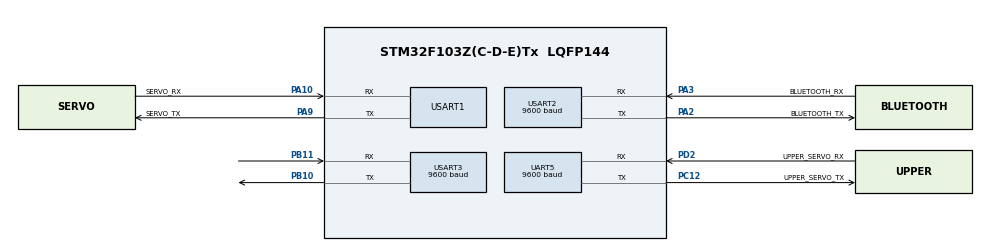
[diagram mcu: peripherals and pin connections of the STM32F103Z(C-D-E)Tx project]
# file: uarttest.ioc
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Mcu.Family=STM32F1
Mcu.Name=STM32F103Z(C-D-E)Tx
Mcu.Package=LQFP144
NVIC.PriorityGroup=NVIC_PRIORITYGROUP_4
NVIC.UART5_IRQn=true\:0\:0\:false\:false\:true\:true\:true\:true
NVIC.USART1_IRQn=true\:0\:0\:false\:false\:true\:true\:true\:true
NVIC.USART2_IRQn=true\:0\:0\:false\:false\:true\:true\:true\:true
NVIC.USART3_IRQn=true\:0\:0\:false\:false\:true\:true\:true\:true
OSC_IN.Mode=HSE-External-Oscillator
OSC_IN.Signal=RCC_OSC_IN
OSC_OUT.Mode=HSE-External-Oscillator
OSC_OUT.Signal=RCC_OSC_OUT
PA10.GPIO_Label=SERVO_RX
PA10.Mode=Asynchronous
PA10.Signal=USART1_RX
PA13.Mode=Serial_Wire
PA13.Signal=SYS_JTMS-SWDIO
PA14.Mode=Serial_Wire
PA14.Signal=SYS_JTCK-SWCLK
PA2.GPIO_Label=BLUETOOTH_TX
PA2.Mode=Asynchronous
PA2.Signal=USART2_TX
PA3.GPIO_Label=BLUETOOTH_RX
PA3.Mode=Asynchronous
PA3.Signal=USART2_RX
PA9.GPIO_Label=SERVO_TX
PA9.Mode=Asynchronous
PA9.Signal=USART1_TX
PB10.Mode=Asynchronous
PB10.Signal=USART3_TX
PB11.Mode=Asynchronous
PB11.Signal=USART3_RX
PC12.GPIO_Label=UPPER_SERVO_TX
PC12.Mode=Asynchronous
PC12.Signal=UART5_TX
PD2.GPIO_Label=UPPER_SERVO_RX
PD2.Mode=Asynchronous
PD2.Signal=UART5_RX
ProjectManager.HeapSize=0x200
ProjectManager.StackSize=0x400
ProjectManager.TargetToolchain=STM32CubeIDE
RCC.APB1Freq_Value=8000000
RCC.APB2Freq_Value=8000000
UART5.BaudRate=9600
UART5.VirtualMode=Asynchronous
USART1.VirtualMode=VM_ASYNC
USART2.BaudRate=9600
USART2.VirtualMode=VM_ASYNC
USART3.BaudRate=9600
USART3.VirtualMode=VM_ASYNC
board=custom

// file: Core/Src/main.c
/* USER CODE BEGIN Header */
/**
  ******************************************************************************
  * @file           : main.c
  * @brief          : Main program body
  ******************************************************************************
  * @attention
  *
  * Copyright (c) 2022 STMicroelectronics.
  * All rights reserved.
  *
  * This software is licensed under terms that can be found in the LICENSE file
  * in the root directory of this software component.
  * If no LICENSE file comes with this software, it is provided AS-IS.
  *
  ******************************************************************************
  */
//

/* USER CODE END Header */
#include "main.h"
#include "Servo.h"
#include <stdio.h>
#include <stdarg.h>
#include "movementTable.h"

UART_HandleTypeDef UPPER_SERVO_UART;
UART_HandleTypeDef SERVO_UART;
UART_HandleTypeDef BLUETOOTH_UART;
UART_HandleTypeDef huart3;

/* USER CODE BEGIN PV */
extern char BLUETOOTH_RX_BUF[400];
extern char SERVO_RX_BUF[400];
extern char CMD_ARG_BUF[100];
extern char UPPER_SERVO_RX_BUF[400];
extern uint16_t CMD_FLAG;
extern uint16_t ANGLE[30];
extern int mutex_lock;
extern int mutex_lock_upper;
/* USER CODE END PV */

void SystemClock_Config(void);
static void MX_GPIO_Init(void);
static void MX_USART1_UART_Init(void);
static void MX_USART2_UART_Init(void);
static void MX_USART3_UART_Init(void);
static void MX_UART5_Init(void);

int main(void)
{

  /* MCU Configuration--------------------------------------------------------*/

  /* Reset of all peripherals, Initializes the Flash interface and the Systick. */
  HAL_Init();

  /* Configure the system clock */
  SystemClock_Config();

  /* Initialize all configured peripherals */
  MX_GPIO_Init();
  MX_USART1_UART_Init();
  MX_USART2_UART_Init();
  MX_USART3_UART_Init();
  MX_UART5_Init();
  /* USER CODE BEGIN 2 */
    char * initInfo = "Stm init......\n\0";
    HAL_UART_Transmit(&BLUETOOTH_UART,initInfo,16,HAL_MAX_DELAY);
    __HAL_UART_CLEAR_IDLEFLAG(&SERVO_UART);
    __HAL_UART_ENABLE_IT(&SERVO_UART, UART_IT_IDLE | UART_IT_RXNE);
    HAL_UART_Receive_IT(&SERVO_UART, (uint8_t *)SERVO_RX_BUF, 100);
    __HAL_UART_CLEAR_IDLEFLAG(&BLUETOOTH_UART);
    __HAL_UART_ENABLE_IT(&BLUETOOTH_UART, UART_IT_IDLE | UART_IT_RXNE);
    HAL_UART_Receive_IT(&BLUETOOTH_UART, (uint8_t *)BLUETOOTH_RX_BUF, 100);
    __HAL_UART_CLEAR_IDLEFLAG(&UPPER_SERVO_UART);
    __HAL_UART_ENABLE_IT(&UPPER_SERVO_UART, UART_IT_IDLE | UART_IT_RXNE);
    HAL_UART_Receive_IT(&UPPER_SERVO_UART, (uint8_t *)UPPER_SERVO_RX_BUF, 100);

    Uart_Init(&SERVO_UART, &UPPER_SERVO_UART);
    CMD_FLAG = '0';
  /* USER CODE END 2 */
  /* Infinite loop */
  /* USER CODE BEGIN WHILE */
    /* Infinite loop */
        while (1){
            switch (CMD_FLAG) {
                case 1:
                    movement_normal_forward();
                    break;
                case 2:
                    movement_normal_backward();
                    break;
                case 3:
                    movement_turn_left();
                    break;
                case 4:
                    movement_turn_right();
                    break;
                case 5:
                    movement_rotate_right();
                    break;
                case 6:
                    movement_rotate_left();
                    break;
                case 7:
                    movement_highlifting_backward();
                    break;
                case 8:
                    movement_highlifting_forward();
                    break;
                case 9:
                    movement_default_pos();
                    break;
                case 10:
                    unloadServos(3,0,1,2,3);//LF
                    CMD_FLAG = 0;
                    break;
                case 11:
                    unloadServos(3,0,4,5,6);//LM
                    CMD_FLAG = 0;
                    break;
                case 12:
                    unloadServos(3,0,10,11,12);//LH
                    CMD_FLAG = 0;
                    break;
                case 13:
                    unloadServos(3,0,16,17,18);//RF
                    CMD_FLAG = 0;
                    break;
                case 14:
                    unloadServos(3,0,7,8,9);//RM
                    CMD_FLAG = 0;
                    break;
                case 15:
                    unloadServos(3,0,13,14,15);//RH
                    CMD_FLAG = 0;
                    break;
                case 16:
                    unloadServos(2,19,20);//LF
                    CMD_FLAG = 0;
                    break;
                case 17:
                    unloadServos(2,29,30);//LM
                    CMD_FLAG = 0;
                    break;
                case 18:
                    unloadServos(2, 27,28);//LH
                    CMD_FLAG = 0;
                    break;
                case 19://RF
                    unloadServos(2,21,22);
                    CMD_FLAG = 0;
                    break;
                case 20://RM
                    unloadServos(2,23,24);
                    CMD_FLAG = 0;
                    break;
                case 21://RH
                    unloadServos(2,25,26);
                    CMD_FLAG = 0;
                    break;
                case 22:
                    movement_twist_rotate_right();break;
                case 23:
                    movement_tetrapod_forward();break;
                case 24:
                    movement_wave_forward();
                    break;
                case lay_down:
                    movement_convert();
                    moveServos(9, 1000
                            ,1 ,488
                            ,2 ,545
                            ,3 ,830
                            ,7 ,494
                            ,8 ,575
                            ,9 ,0
                            ,10 ,500
                            ,11 ,497
                            ,12 ,835
                    );
                    HAL_Delay(1000);
                    moveServos(9, 1000
                            ,1 ,488
                            ,2 ,170
                            ,3 ,330
                            ,7 ,494
                            ,8 ,950
                            ,9 ,490
                            ,10 ,500
                            ,11 ,122
                            ,12 ,335
                    );
                    HAL_Delay(1000);
                    moveServos(9, 400
                            ,4 ,488
                            ,5 ,517
                            ,6 ,755
                            ,13 ,436
                            ,14 ,540
                            ,15 ,825
                            ,16 ,496
                            ,17 ,570
                            ,18 ,760
                    );
                    HAL_Delay(400);
                    //
                    unloadServos(18,0,1,2,3,4,5,6,7,8,9,10,11,12,13,14,15,16,17,18);
                    break;
                case 26:
                    movement_lift_up();
                    break;
                case 27:
                    movement_lowdown();
                    break;
                case flower_convert:
                    moveServos(12, 500
                            ,7 ,791
                            ,10 ,797
                            ,1 ,778
                            ,4 ,785
                            ,13 ,733
                            ,16 ,793
                            ,21 ,886
                            ,22 ,844
                            ,23 ,13
                            ,24 ,315
                            ,25 ,966
                            ,26 ,804
                    );
                    HAL_Delay(500);
                    moveServos(6,500,
                               19 ,984
                            ,20 ,809
                            ,27 ,1014
                            ,28 ,704
                            ,29 ,1049
                            ,30 ,544);
                    HAL_Delay(500);
                    break;
                case 29:
                    movement_normal_rightward();
                    break;
                case 30:
                    movement_normal_leftward();
                    break;
                case stand_up:
                    movement_stand_up();
                    movement_default_pos();
                    break;
                case flower_open:
                    unloadServos(6,0,3,6,9,12,15,18);
                    moveServos(24, 1000,7 ,494,8 ,554,10 ,500,11 ,517,1 ,488,2 ,565,4 ,488,5 ,537,13 ,436,14 ,560,16 ,496,17 ,590,19 ,880,20 ,809,27 ,910,28 ,704,29 ,945,30 ,544,21 ,795,22 ,844,23 ,105,24 ,315,25 ,875,26 ,804);
                    HAL_Delay(1000);
                    unloadServos(18,0,1,2,3,4,5,6,7,8,9,10,11,12,13,14,15,16,17,18);
                    break;
                case 34:
                    unloadServos(18,0,1,2,3,4,5,6,7,8,9,10,11,12,13,14,15,16,17,18);
                    moveServos(12, 500,19 ,505,20 ,809,27 ,535,28 ,704,29 ,570,30 ,544,21 ,420,22 ,844,23 ,480,24 ,315,25 ,500,26 ,804);
                    HAL_Delay(500);
                    moveServos(6, 1000,9 ,219,12 ,605,3 ,600,6 ,525,15 ,595,18 ,530);
                    HAL_Delay(1000);
                    unloadServos(18,0,1,2,3,4,5,6,7,8,9,10,11,12,13,14,15,16,17,18);
                    break;
                case up_flower_open://STAGE1
                    movement_up_half_open();
                    break;
                case up_flower_hold://STAGE2
                    movement_up_hold();
                    break;
                case up_crawl_hold://STAGE3
                    movement_up_crawl_hold();
                    //rolling_down();
                    break;
                case asyn_rolling://STAGE4
                    movement_asyn_rolling();
                    //up_down_down();
                    break;
                case 39://��ϥ
                    movement_leg_hold_up();
                    break;
                case 40://������1
                    convert_on_and_on();
                    break;
                case 41://������2
                    rolling_down();
                    break;
                case 42://������3
                    up_down_down();
                    break;
                case 43:
                    //
                    // movement_twist_rotate_right();
                case 110:
                    unloadServos(30,0,1,2,3,4,5,6,7,8,9,10,11,12,13,14,15,16,17,18,19,20,21,22,23,24,25,26,27,28,29,30);
                    CMD_FLAG = 0;
                    break;
                case 111:
                    mutex_lock = 1;
                    mutex_lock_upper = 1;
                    getServoAngle(30,0,1,2,3,4,5,6,7,8,9,10,11,12,13,14,15,16,17,18,19,20,21,22,23,24,25,26,27,28,29,30);
                    while (mutex_lock&&mutex_lock_upper){}
                    double angle[31];
                    convertAngleData(angle, ANGLE);
                    CMD_FLAG = 0;
                    break;
                default:break;
            }
        }

    /* USER CODE END WHILE */

}

void SystemClock_Config(void)
{
  RCC_OscInitTypeDef RCC_OscInitStruct = {0};
  RCC_ClkInitTypeDef RCC_ClkInitStruct = {0};

  /** Initializes the RCC Oscillators according to the specified parameters
  * in the RCC_OscInitTypeDef structure.
  */
  RCC_OscInitStruct.OscillatorType = RCC_OSCILLATORTYPE_HSI;
  RCC_OscInitStruct.HSIState = RCC_HSI_ON;
  RCC_OscInitStruct.HSICalibrationValue = RCC_HSICALIBRATION_DEFAULT;
  RCC_OscInitStruct.PLL.PLLState = RCC_PLL_NONE;
  if (HAL_RCC_OscConfig(&RCC_OscInitStruct) != HAL_OK)
  {
    Error_Handler();
  }

  /** Initializes the CPU, AHB and APB buses clocks
  */
  RCC_ClkInitStruct.ClockType = RCC_CLOCKTYPE_HCLK|RCC_CLOCKTYPE_SYSCLK
                              |RCC_CLOCKTYPE_PCLK1|RCC_CLOCKTYPE_PCLK2;
  RCC_ClkInitStruct.SYSCLKSource = RCC_SYSCLKSOURCE_HSI;
  RCC_ClkInitStruct.AHBCLKDivider = RCC_SYSCLK_DIV1;
  RCC_ClkInitStruct.APB1CLKDivider = RCC_HCLK_DIV1;
  RCC_ClkInitStruct.APB2CLKDivider = RCC_HCLK_DIV1;

  if (HAL_RCC_ClockConfig(&RCC_ClkInitStruct, FLASH_LATENCY_0) != HAL_OK)
  {
    Error_Handler();
  }
}

static void MX_UART5_Init(void)
{

  UPPER_SERVO_UART.Instance = UART5;
  UPPER_SERVO_UART.Init.BaudRate = 9600;
  UPPER_SERVO_UART.Init.WordLength = UART_WORDLENGTH_8B;
  UPPER_SERVO_UART.Init.StopBits = UART_STOPBITS_1;
  UPPER_SERVO_UART.Init.Parity = UART_PARITY_NONE;
  UPPER_SERVO_UART.Init.Mode = UART_MODE_TX_RX;
  UPPER_SERVO_UART.Init.HwFlowCtl = UART_HWCONTROL_NONE;
  UPPER_SERVO_UART.Init.OverSampling = UART_OVERSAMPLING_16;
  if (HAL_UART_Init(&UPPER_SERVO_UART) != HAL_OK)
  {
    Error_Handler();
  }

}

static void MX_USART1_UART_Init(void)
{

  SERVO_UART.Instance = USART1;
  SERVO_UART.Init.BaudRate = 9600;
  SERVO_UART.Init.WordLength = UART_WORDLENGTH_8B;
  SERVO_UART.Init.StopBits = UART_STOPBITS_1;
  SERVO_UART.Init.Parity = UART_PARITY_NONE;
  SERVO_UART.Init.Mode = UART_MODE_TX_RX;
  SERVO_UART.Init.HwFlowCtl = UART_HWCONTROL_NONE;
  SERVO_UART.Init.OverSampling = UART_OVERSAMPLING_16;
  if (HAL_UART_Init(&SERVO_UART) != HAL_OK)
  {
    Error_Handler();
  }

}

static void MX_USART2_UART_Init(void)
{

  BLUETOOTH_UART.Instance = USART2;
  BLUETOOTH_UART.Init.BaudRate = 9600;
  BLUETOOTH_UART.Init.WordLength = UART_WORDLENGTH_8B;
  BLUETOOTH_UART.Init.StopBits = UART_STOPBITS_1;
  BLUETOOTH_UART.Init.Parity = UART_PARITY_NONE;
  BLUETOOTH_UART.Init.Mode = UART_MODE_TX_RX;
  BLUETOOTH_UART.Init.HwFlowCtl = UART_HWCONTROL_NONE;
  BLUETOOTH_UART.Init.OverSampling = UART_OVERSAMPLING_16;
  if (HAL_UART_Init(&BLUETOOTH_UART) != HAL_OK)
  {
    Error_Handler();
  }

}

static void MX_USART3_UART_Init(void)
{

  huart3.Instance = USART3;
  huart3.Init.BaudRate = 9600;
  huart3.Init.WordLength = UART_WORDLENGTH_8B;
  huart3.Init.StopBits = UART_STOPBITS_1;
  huart3.Init.Parity = UART_PARITY_NONE;
  huart3.Init.Mode = UART_MODE_TX_RX;
  huart3.Init.HwFlowCtl = UART_HWCONTROL_NONE;
  huart3.Init.OverSampling = UART_OVERSAMPLING_16;
  if (HAL_UART_Init(&huart3) != HAL_OK)
  {
    Error_Handler();
  }

}

static void MX_GPIO_Init(void)
{

  /* GPIO Ports Clock Enable */
  __HAL_RCC_GPIOA_CLK_ENABLE();
  __HAL_RCC_GPIOB_CLK_ENABLE();
  __HAL_RCC_GPIOC_CLK_ENABLE();
  __HAL_RCC_GPIOD_CLK_ENABLE();

}

void Error_Handler(void)
{
  __disable_irq();
  while (1)
  {
  }
}
